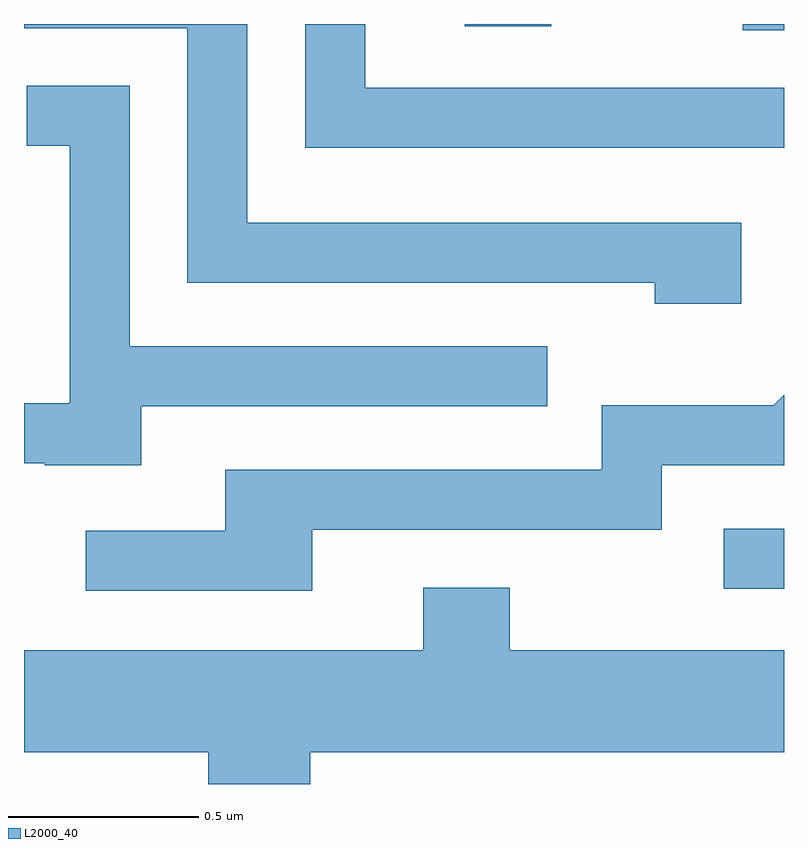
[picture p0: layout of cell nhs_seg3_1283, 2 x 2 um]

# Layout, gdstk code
import gdstk
lib = gdstk.Library(unit=1e-6, precision=1e-09)
def R(c, l, rs):  # rectangles x0, y0, x1, y1
    for r in rs: c.add(gdstk.rectangle(r[:2], r[2:], *l))
def P(c, l, *ps):  # polygons
    for p in ps: c.add(gdstk.Polygon(p, *l))
L2000_40 = (2000, 40)

nhs_seg3_1283 = lib.new_cell('nhs_seg3_1283')
R(nhs_seg3_1283, L2000_40, [(196.453,1166.406,196.611,1166.564), (196.503,1167.876,196.611,1167.892), (195.771,1167.886,195.999,1167.892)])
P(nhs_seg3_1283, L2000_40, [(196.611,1167.724),(195.509,1167.724),(195.509,1167.892),(195.351,1167.892),(195.351,1167.566),(196.611,1167.566)],
  [(196.499,1167.369),(195.199,1167.369),(195.199,1167.892),(194.611,1167.892),(194.611,1167.881),(195.041,1167.881),(195.041,1167.211),(196.271,1167.211),(196.271,1167.156),(196.499,1167.156)],
  [(194.919,1166.886),(195.988,1166.886),(195.988,1167.044),(194.889,1167.044),(194.889,1167.729),(194.618,1167.729),(194.618,1167.571),(194.731,1167.571),(194.731,1166.894),(194.611,1166.894),(194.611,1166.736),(194.665,1166.736),(194.665,1166.731),(194.919,1166.731)],
  [(195.369,1166.561),(196.289,1166.561),(196.289,1166.731),(196.611,1166.731),(196.611,1166.916),(196.584,1166.889),(196.131,1166.889),(196.131,1166.719),(195.141,1166.719),(195.141,1166.559),(194.773,1166.559),(194.773,1166.401),(195.369,1166.401)],
  [(195.364,1165.976),(196.611,1165.976),(196.611,1166.244),(195.889,1166.244),(195.889,1166.409),(195.661,1166.409),(195.661,1166.244),(194.611,1166.244),(194.611,1165.976),(195.096,1165.976),(195.096,1165.892),(195.364,1165.892)])

lib.write_gds('nhs_seg3_1283.gds')
